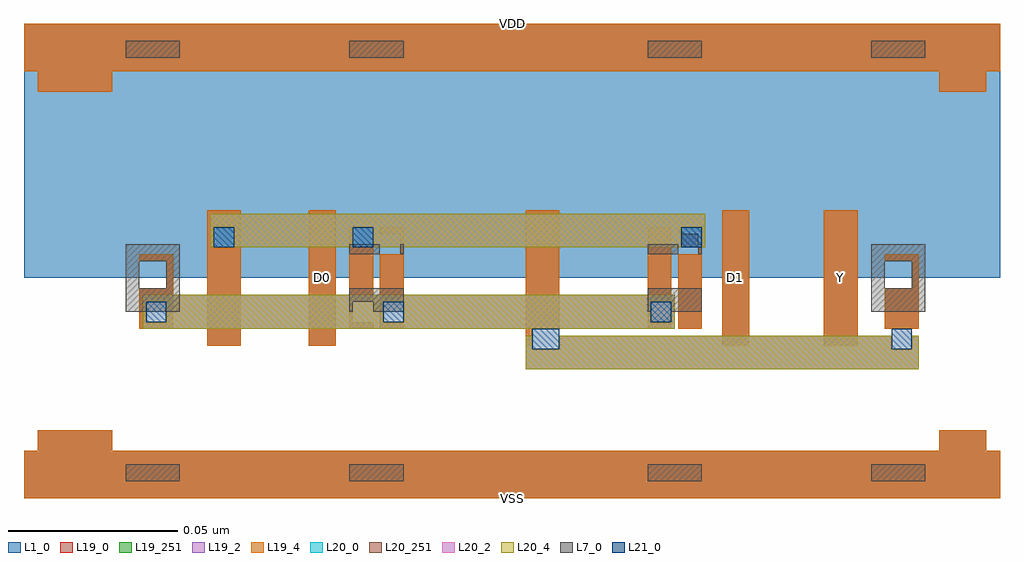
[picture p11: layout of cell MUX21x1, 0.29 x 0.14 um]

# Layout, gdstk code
import gdstk
lib = gdstk.Library(unit=1e-6, precision=1e-09)
def R(c, l, rs):  # rectangles x0, y0, x1, y1
    for r in rs: c.add(gdstk.rectangle(r[:2], r[2:], *l))
L1_0 = (1, 0)
L7_0 = (7, 0)
L19_0 = (19, 0)
L19_2 = (19, 2)
L19_4 = (19, 4)
L19_251 = (19, 251)
L20_0 = (20, 0)
L20_2 = (20, 2)
L20_4 = (20, 4)
L20_251 = (20, 251)
L21_0 = (21, 0)

mux21x1 = lib.new_cell('MUX21x1')
R(mux21x1, L1_0, [(0,0.065,0.288,0.14)])
R(mux21x1, L7_0, [(0.03,0.005,0.046,0.01), (0.096,0.005,0.112,0.01), (0.184,0.005,0.2,0.01), (0.25,0.005,0.266,0.01), (0.185,0.052,0.191,0.055), (0.03,0.055,0.046,0.062), (0.096,0.055,0.097,0.058), (0.103,0.055,0.112,0.058), (0.184,0.055,0.2,0.062), (0.25,0.055,0.266,0.062), (0.096,0.058,0.112,0.062), (0.03,0.062,0.034,0.07), (0.042,0.062,0.046,0.07), (0.25,0.062,0.254,0.07), (0.262,0.062,0.266,0.07), (0.03,0.07,0.046,0.075), (0.25,0.07,0.266,0.075), (0.096,0.072,0.105,0.075), (0.111,0.072,0.112,0.075), (0.184,0.072,0.193,0.075), (0.199,0.072,0.2,0.074), (0.194,0.074,0.2,0.075), (0.194,0.075,0.199,0.078), (0.03,0.13,0.046,0.135), (0.096,0.13,0.112,0.135), (0.184,0.13,0.2,0.135), (0.25,0.13,0.266,0.135)])
R(mux21x1, L19_0, [(0,0,0.288,0.014), (0.004,0.014,0.026,0.02), (0.27,0.014,0.284,0.02), (0.054,0.045,0.064,0.074), (0.084,0.045,0.092,0.085), (0.148,0.045,0.15,0.05), (0.206,0.045,0.214,0.085), (0.236,0.045,0.246,0.085), (0.034,0.05,0.044,0.052), (0.096,0.05,0.103,0.052), (0.105,0.05,0.112,0.052), (0.148,0.05,0.158,0.085), (0.184,0.05,0.191,0.052), (0.193,0.05,0.2,0.072), (0.254,0.05,0.264,0.062), (0.034,0.052,0.036,0.058), (0.042,0.052,0.044,0.058), (0.096,0.052,0.097,0.058), (0.105,0.052,0.106,0.058), (0.184,0.052,0.185,0.058), (0.034,0.058,0.044,0.062), (0.096,0.058,0.103,0.074), (0.105,0.058,0.112,0.072), (0.184,0.058,0.191,0.08), (0.042,0.062,0.044,0.07), (0.262,0.062,0.264,0.07), (0.034,0.07,0.044,0.072), (0.254,0.07,0.264,0.072), (0.111,0.072,0.112,0.078), (0.199,0.072,0.2,0.074), (0.054,0.074,0.056,0.08), (0.062,0.074,0.064,0.08), (0.096,0.074,0.097,0.08), (0.105,0.078,0.112,0.08), (0.193,0.078,0.194,0.08), (0.054,0.08,0.064,0.085), (0.004,0.12,0.026,0.126), (0.27,0.12,0.284,0.126), (0,0.126,0.288,0.14)])
R(mux21x1, L19_2, [(0,0,0.288,0.014), (0.004,0.014,0.026,0.02), (0.27,0.014,0.284,0.02), (0.054,0.045,0.064,0.074), (0.084,0.045,0.092,0.085), (0.148,0.045,0.15,0.05), (0.206,0.045,0.214,0.085), (0.236,0.045,0.246,0.085), (0.034,0.05,0.044,0.052), (0.096,0.05,0.103,0.052), (0.105,0.05,0.112,0.052), (0.148,0.05,0.158,0.085), (0.184,0.05,0.191,0.052), (0.193,0.05,0.2,0.072), (0.254,0.05,0.264,0.062), (0.034,0.052,0.036,0.058), (0.042,0.052,0.044,0.058), (0.096,0.052,0.097,0.058), (0.105,0.052,0.106,0.058), (0.184,0.052,0.185,0.058), (0.034,0.058,0.044,0.062), (0.096,0.058,0.103,0.074), (0.105,0.058,0.112,0.072), (0.184,0.058,0.191,0.08), (0.042,0.062,0.044,0.07), (0.262,0.062,0.264,0.07), (0.034,0.07,0.044,0.072), (0.254,0.07,0.264,0.072), (0.111,0.072,0.112,0.078), (0.199,0.072,0.2,0.074), (0.054,0.074,0.056,0.08), (0.062,0.074,0.064,0.08), (0.096,0.074,0.097,0.08), (0.105,0.078,0.112,0.08), (0.193,0.078,0.194,0.08), (0.054,0.08,0.064,0.085), (0.004,0.12,0.026,0.126), (0.27,0.12,0.284,0.126), (0,0.126,0.288,0.14)])
R(mux21x1, L19_4, [(0,0,0.288,0.014), (0.004,0.014,0.026,0.02), (0.27,0.014,0.284,0.02), (0.054,0.045,0.064,0.074), (0.084,0.045,0.092,0.085), (0.148,0.045,0.15,0.05), (0.206,0.045,0.214,0.085), (0.236,0.045,0.246,0.085), (0.034,0.05,0.044,0.052), (0.096,0.05,0.103,0.052), (0.105,0.05,0.112,0.052), (0.148,0.05,0.158,0.085), (0.184,0.05,0.191,0.052), (0.193,0.05,0.2,0.072), (0.254,0.05,0.264,0.062), (0.034,0.052,0.036,0.058), (0.042,0.052,0.044,0.058), (0.096,0.052,0.097,0.058), (0.105,0.052,0.106,0.058), (0.184,0.052,0.185,0.058), (0.034,0.058,0.044,0.062), (0.096,0.058,0.103,0.074), (0.105,0.058,0.112,0.072), (0.184,0.058,0.191,0.08), (0.042,0.062,0.044,0.07), (0.262,0.062,0.264,0.07), (0.034,0.07,0.044,0.072), (0.254,0.07,0.264,0.072), (0.111,0.072,0.112,0.078), (0.199,0.072,0.2,0.074), (0.054,0.074,0.056,0.08), (0.062,0.074,0.064,0.08), (0.096,0.074,0.097,0.08), (0.105,0.078,0.112,0.08), (0.193,0.078,0.194,0.08), (0.054,0.08,0.064,0.085), (0.004,0.12,0.026,0.126), (0.27,0.12,0.284,0.126), (0,0.126,0.288,0.14)])
R(mux21x1, L19_251, [(0,0,0.288,0.014), (0.004,0.014,0.026,0.02), (0.27,0.014,0.284,0.02), (0.054,0.045,0.064,0.074), (0.084,0.045,0.092,0.085), (0.148,0.045,0.15,0.05), (0.206,0.045,0.214,0.085), (0.236,0.045,0.246,0.085), (0.034,0.05,0.044,0.052), (0.096,0.05,0.103,0.052), (0.105,0.05,0.112,0.052), (0.148,0.05,0.158,0.085), (0.184,0.05,0.191,0.052), (0.193,0.05,0.2,0.072), (0.254,0.05,0.264,0.062), (0.034,0.052,0.036,0.058), (0.042,0.052,0.044,0.058), (0.096,0.052,0.097,0.058), (0.105,0.052,0.106,0.058), (0.184,0.052,0.185,0.058), (0.034,0.058,0.044,0.062), (0.096,0.058,0.103,0.074), (0.105,0.058,0.112,0.072), (0.184,0.058,0.191,0.08), (0.042,0.062,0.044,0.07), (0.262,0.062,0.264,0.07), (0.034,0.07,0.044,0.072), (0.254,0.07,0.264,0.072), (0.111,0.072,0.112,0.078), (0.199,0.072,0.2,0.074), (0.054,0.074,0.056,0.08), (0.062,0.074,0.064,0.08), (0.096,0.074,0.097,0.08), (0.105,0.078,0.112,0.08), (0.193,0.078,0.194,0.08), (0.054,0.08,0.064,0.085), (0.004,0.12,0.026,0.126), (0.27,0.12,0.284,0.126), (0,0.126,0.288,0.14)])
R(mux21x1, L20_0, [(0.148,0.038,0.264,0.044), (0.148,0.044,0.15,0.048), (0.158,0.044,0.256,0.048), (0.262,0.044,0.264,0.048), (0.035,0.05,0.192,0.052), (0.035,0.052,0.036,0.058), (0.042,0.052,0.106,0.058), (0.112,0.052,0.185,0.058), (0.191,0.052,0.192,0.058), (0.035,0.058,0.192,0.06), (0.055,0.074,0.056,0.08), (0.062,0.074,0.097,0.08), (0.103,0.074,0.194,0.08), (0.2,0.074,0.201,0.08), (0.055,0.08,0.201,0.084)])
R(mux21x1, L20_2, [(0.148,0.038,0.264,0.044), (0.148,0.044,0.15,0.048), (0.158,0.044,0.256,0.048), (0.262,0.044,0.264,0.048), (0.035,0.05,0.192,0.052), (0.035,0.052,0.036,0.058), (0.042,0.052,0.106,0.058), (0.112,0.052,0.185,0.058), (0.191,0.052,0.192,0.058), (0.035,0.058,0.192,0.06), (0.055,0.074,0.056,0.08), (0.062,0.074,0.097,0.08), (0.103,0.074,0.194,0.08), (0.2,0.074,0.201,0.08), (0.055,0.08,0.201,0.084)])
R(mux21x1, L20_4, [(0.148,0.038,0.264,0.044), (0.148,0.044,0.15,0.048), (0.158,0.044,0.256,0.048), (0.262,0.044,0.264,0.048), (0.035,0.05,0.192,0.052), (0.035,0.052,0.036,0.058), (0.042,0.052,0.106,0.058), (0.112,0.052,0.185,0.058), (0.191,0.052,0.192,0.058), (0.035,0.058,0.192,0.06), (0.055,0.074,0.056,0.08), (0.062,0.074,0.097,0.08), (0.103,0.074,0.194,0.08), (0.2,0.074,0.201,0.08), (0.055,0.08,0.201,0.084)])
R(mux21x1, L20_251, [(0.148,0.038,0.264,0.044), (0.148,0.044,0.15,0.048), (0.158,0.044,0.256,0.048), (0.262,0.044,0.264,0.048), (0.035,0.05,0.192,0.052), (0.035,0.052,0.036,0.058), (0.042,0.052,0.106,0.058), (0.112,0.052,0.185,0.058), (0.191,0.052,0.192,0.058), (0.035,0.058,0.192,0.06), (0.055,0.074,0.056,0.08), (0.062,0.074,0.097,0.08), (0.103,0.074,0.194,0.08), (0.2,0.074,0.201,0.08), (0.055,0.08,0.201,0.084)])
R(mux21x1, L21_0, [(0.15,0.044,0.158,0.05), (0.256,0.044,0.262,0.05), (0.036,0.052,0.042,0.058), (0.106,0.052,0.112,0.058), (0.185,0.052,0.191,0.058), (0.056,0.074,0.062,0.08), (0.097,0.074,0.103,0.08), (0.194,0.074,0.2,0.08)])
mux21x1.add(gdstk.Label('D0', (0.088,0.065), layer=19, texttype=0))
mux21x1.add(gdstk.Label('D1', (0.21,0.065), layer=19, texttype=0))
mux21x1.add(gdstk.Label('Y', (0.241,0.065), layer=19, texttype=0))
mux21x1.add(gdstk.Label('VSS', (0.144,0), layer=19, texttype=0))
mux21x1.add(gdstk.Label('VDD', (0.144,0.14), layer=19, texttype=0))

lib.write_gds('MUX21x1.gds')
